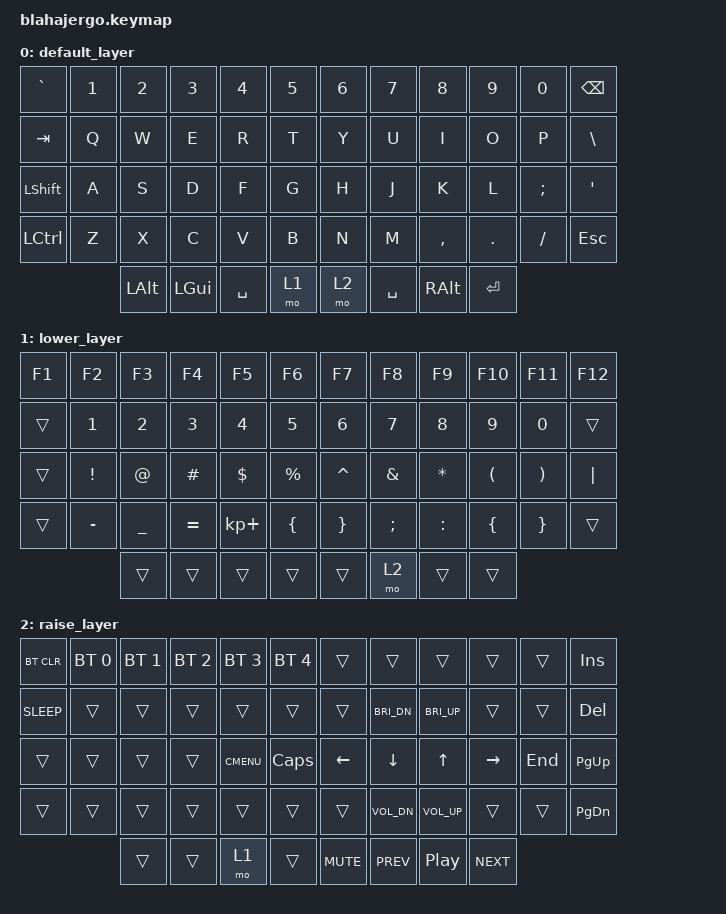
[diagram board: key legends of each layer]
#include <behaviors.dtsi>
#include <dt-bindings/zmk/keys.h>
#include <dt-bindings/zmk/bt.h>

/ {
        keymap {
                compatible = "zmk,keymap";

                default_layer {
// ,------------------------------------.   ,------------------------------------.
// |   `  |  1  |  2  |  3  |  4  |  5  |   |  6  |  7  |  8  |  9  |  0  | BKSP |
// |------+-----+-----+-----+-----+-----|   |-----+-----+-----+-----+-----+------|
// | TAB  |  Q  |  W  |  E  |  R  |  T  |   |  Y  |  U  |  I  |  O  |  P  |  \   |
// |------+-----+-----+-----+-----+-----|   |-----+-----+-----+-----+-----+------|
// | SHFT |  A  |  S  |  D  |  F  |  G  |   |  H  |  J  |  K  |  L  |  ;  |  '   |
// |------+-----+-----+-----+-----+-----|   |-----+-----+-----+-----+-----+------|
// | CTRL |  Z  |  X  |  C  |  V  |  B  |   |  N  |  M  |  ,  |  .  |  /  | ESC  |
// `------------+-----+-----+-----+-----|   |-----+-----+-----+-----+------------'
//              | ALT | GUI | LWR | SPC |   | SPC | RSE | ALT | ENT |
//              `-----------------------'   '-----------------------'
                        bindings = <
   &kp GRAVE &kp N1 &kp N2   &kp N3   &kp N4     &kp N5       &kp N6    &kp N7  &kp N8     &kp N9   &kp N0    &kp BSPC
   &kp TAB   &kp Q  &kp W    &kp E    &kp R      &kp T        &kp Y     &kp U   &kp I      &kp O    &kp P     &kp BSLH
   &kp LSHFT &kp A  &kp S    &kp D    &kp F      &kp G        &kp H     &kp J   &kp K      &kp L    &kp SEMI  &kp SQT
   &kp LCTRL &kp Z  &kp X    &kp C    &kp V      &kp B        &kp N     &kp M   &kp COMMA  &kp DOT  &kp FSLH  &kp ESC
                    &kp LALT &kp LGUI &kp SPACE  &mo 1        &mo 2     &kp SPACE   &kp RALT   &kp RET
                        >;
                };
                lower_layer {
// ,------------------------------------.   ,------------------------------------.
// |  F1  | F2  | F3  | F4  | F5  | F6  |   | F7  | F8  | F9  | F10 | F11 | F12  |
// |------+-----+-----+-----+-----+-----|   |-----+-----+-----+-----+-----+------|
// |      |  1  |  2  |  3  |  4  |  5  |   |  6  |  7  |  8  |  9  |  0  |      |
// |------+-----+-----+-----+-----+-----|   |-----+-----+-----+-----+-----+------|
// |      |  !  |  @  |  #  |  $  |  %  |   |  ^  |  &  |  *  |  (  |  )  |  |   |
// |------+-----+-----+-----+-----+-----|   |-----+-----+-----+-----+-----+------|
// |      |  -  |  _  |  =  |  +  |  {  |   |  }  |  ;  |  :  |  [  |  ]  |      |
// `------------+-----+-----+-----+-----|   |-----+-----+-----+-----+------------'
//              |     |     |     |     |   |     | RSE |     |     |
//              `-----------------------'   '-----------------------'
                        bindings = <
   &kp F1 &kp F2     &kp F3     &kp F4     &kp F5       &kp F6        &kp F7     &kp F8    &kp F9     &kp F10   &kp F11   &kp F12
   &trans &kp N1     &kp N2     &kp N3     &kp N4       &kp N5        &kp N6     &kp N7    &kp N8     &kp N9    &kp N0    &trans
   &trans &kp EXCL   &kp AT     &kp HASH   &kp DLLR     &kp PRCNT     &kp CARET  &kp AMPS  &kp ASTRK  &kp LPAR  &kp RPAR  &kp PIPE
   &trans &kp MINUS  &kp UNDER  &kp EQUAL  &kp KP_PLUS  &kp LBRC      &kp RBRC   &kp SEMI  &kp COLON  &kp LBRC  &kp RBRC  &trans
                     &trans     &trans     &trans       &trans        &trans     &mo 2     &trans     &trans
                        >;
                };

                raise_layer {
// ,------------------------------------.   ,------------------------------------.
// |BT CLR| BT1 | BT2 | BT3 | BT4 | BT5 |   |     |     |     |     |     | INS  |
// |------+-----+-----+-----+-----+-----|   |-----+-----+-----+-----+-----+------|
// |SLEEP |     |     |     |     |     |   |     |BRI D|BRI U|     |     | DEL  |
// |------+-----+-----+-----+-----+-----|   |-----+-----+-----+-----+-----+------|
// |      |     |     |     | MNU | CAP |   | LFT | DWN | UP  | RGT | END | PG U |
// |------+-----+-----+-----+-----+-----|   |-----+-----+-----+-----+-----+------|
// |      |     |     |     |     |     |   |     |VOL D|VOL U|     |     | PG D |
// `------------+-----+-----+-----+-----|   |-----+-----+-----+-----+------------'
//              |     |     | LWR |     |   |MUTE |PREV |PLAY |NEXT |
//              `-----------------------'   '-----------------------'
                        bindings = <
   &bt BT_CLR  &bt BT_SEL 0 &bt BT_SEL 1 &bt BT_SEL 2 &bt BT_SEL 3 &bt BT_SEL 4        &trans     &trans       &trans       &trans    &trans   &kp INS
   &kp K_SLEEP &trans       &trans       &trans       &trans       &trans              &trans     &kp C_BRI_DN &kp C_BRI_UP &trans    &trans    &kp DEL
   &trans      &trans       &trans       &trans       &kp K_CMENU  &kp CLCK            &kp LEFT   &kp DOWN     &kp UP       &kp RIGHT &kp END  &kp PG_UP
   &trans      &trans       &trans       &trans       &trans       &trans              &trans     &kp C_VOL_DN &kp C_VOL_UP &trans    &trans  &kp PG_DN
                            &trans       &trans       &mo 1        &trans              &kp C_MUTE &kp C_PREV   &kp C_PP     &kp C_NEXT

                        >;
                };
        };
};
